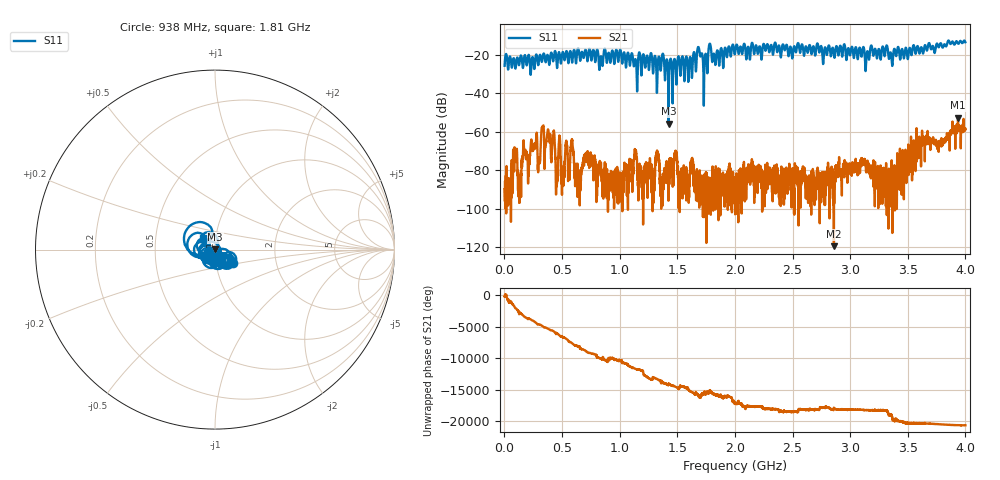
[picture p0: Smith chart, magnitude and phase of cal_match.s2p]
!Created with skrf (http://scikit-rf.org).
# GHz S RI R 50.0
!freq ReS11 ImS11 ReS21 ImS21 ReS12 ImS12 ReS22 ImS22
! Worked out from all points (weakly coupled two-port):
!   4000 points, 1 MHz to 4 GHz, reference 50 ohm
!   highest |S21| = -52.65 dB at 3.936 GHz (marker M1); lowest = -119.5 dB at 2.859 GHz (marker M2)
!   lowest |S11| = -55.8 dB at 1.425 GHz (marker M3), VSWR 1.00, Z = 50.1 + j0.129 ohm
!   |S11| at or under -10 dB: start of sweep to end of sweep
!   S12 and S22 are empty: the file has one direction only
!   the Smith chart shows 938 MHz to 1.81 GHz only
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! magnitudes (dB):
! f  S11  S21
! 1 MHz  -25.7  -89.8
! 91 MHz  -25.8  -70.5
! 132 MHz  -23.5  -83.6
! 265 MHz  -23.8  -67.7
! 301 MHz  -21.9  -76.7
! 335 MHz  -20.2  -57.2
! 506 MHz  -18.6  -82.4
! 588 MHz  -24.0  -64.3
! 623 MHz  -23.7  -77.6
! 668 MHz  -18.9  -79.6
! 707 MHz  -17.7  -73.2
! 899 MHz  -19.7  -88.6
! 1.334 GHz  -22.3  -72.4
! 1.425 GHz  -55.8  -83.2
! 1.691 GHz  -17.8  -81.2
! 1.744 GHz  -19.7  -82.4
! 2.001 GHz  -19.3  -87.5
! 2.667 GHz  -19.5  -81.2
! 2.859 GHz  -19.8  -119.5
! 3.334 GHz  -21.6  -89.5
! 3.936 GHz  -14.2  -52.6
! 4 GHz  -13.5  -58.7
